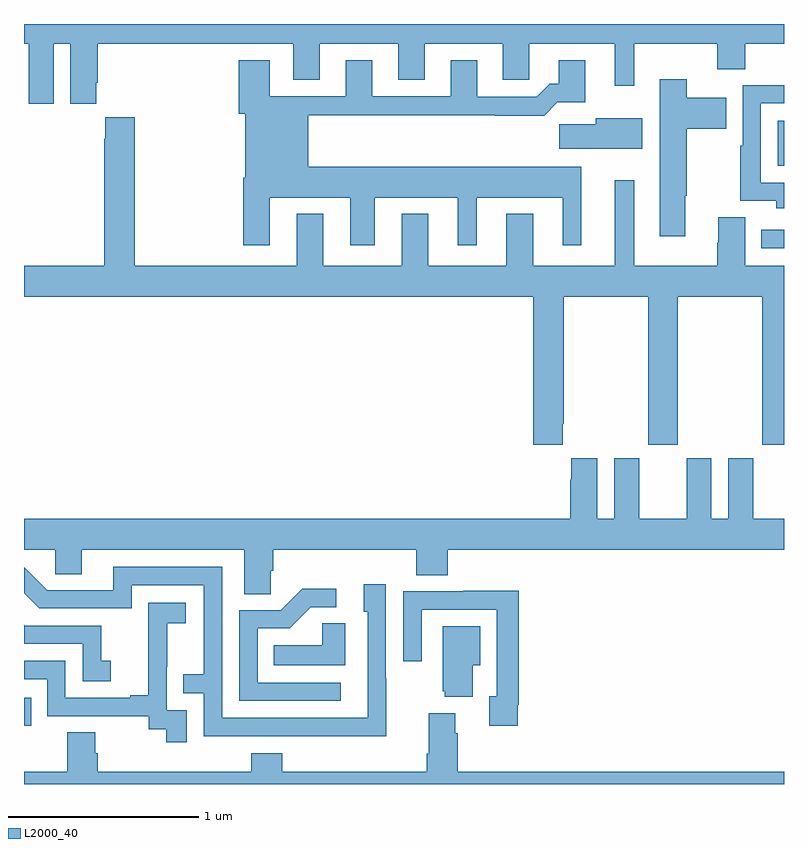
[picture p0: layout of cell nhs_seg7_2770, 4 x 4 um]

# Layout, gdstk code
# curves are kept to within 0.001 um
import gdstk
lib = gdstk.Library(unit=1e-6, precision=1e-09)
def R(c, l, rs):  # rectangles x0, y0, x1, y1
    for r in rs: c.add(gdstk.rectangle(r[:2], r[2:], *l))
def P(c, l, *ps):  # polygons
    for p in ps: c.add(gdstk.Polygon(p, *l))
L2000_40 = (2000, 40)

nhs_seg7_2770 = lib.new_cell('nhs_seg7_2770')
R(nhs_seg7_2770, L2000_40, [(289,1050.306,289.037,1050.453), (292.88,1052.82,293,1052.916), (292.967,1053.254,293,1053.49)])
P(nhs_seg7_2770, L2000_40, [(289.156,1053.896),(289.244,1053.896),(289.244,1053.579),(289.381,1053.579),(289.381,1053.691),(289.388,1053.691),(289.388,1053.896),(290.417,1053.896),(290.417,1053.706),(290.557,1053.706),(290.557,1053.896),(290.969,1053.896),(290.969,1053.706),(291.109,1053.706),(291.109,1053.896),(291.521,1053.896),(291.521,1053.706),(291.66,1053.706),(291.66,1053.896),(292.109,1053.896),(292.109,1053.675),(292.213,1053.675),(292.213,1053.896),(292.648,1053.896),(292.648,1053.763),(292.795,1053.763),(292.795,1053.896),(293,1053.896),(293,1054),(289,1054),(289,1053.896),(289.025,1053.896),(289.025,1053.579),(289.156,1053.579)],
  [(290.293,1053.086),(290.717,1053.086),(290.717,1052.835),(290.845,1052.835),(290.845,1053.086),(291.284,1053.086),(291.284,1052.835),(291.382,1052.835),(291.382,1053.086),(291.836,1053.086),(291.836,1052.835),(291.934,1052.835),(291.934,1053.25),(290.497,1053.25),(290.497,1053.52),(291.481,1053.52),(291.481,1053.518),(291.737,1053.518),(291.806,1053.587),(291.955,1053.587),(291.955,1053.808),(291.815,1053.808),(291.815,1053.685),(291.766,1053.685),(291.699,1053.618),(291.385,1053.618),(291.385,1053.808),(291.245,1053.808),(291.245,1053.621),(290.833,1053.621),(290.833,1053.808),(290.693,1053.808),(290.693,1053.621),(290.293,1053.621),(290.293,1053.808),(290.129,1053.808),(290.129,1053.528),(290.165,1053.528),(290.165,1053.19),(290.153,1053.19),(290.153,1052.835),(290.293,1052.835)],
  [(292.48,1053.095),(292.488,1053.095),(292.488,1053.448),(292.697,1053.448),(292.697,1053.613),(292.488,1053.613),(292.488,1053.709),(292.346,1053.709),(292.346,1052.883),(292.48,1052.883)],
  [(293,1053.165),(292.878,1053.165),(292.878,1053.582),(293,1053.582),(293,1053.678),(292.782,1053.678),(292.782,1053.359),(292.77,1053.359),(292.77,1053.069),(292.96,1053.069),(292.96,1053.029),(293,1053.029)],
  [(291.835,1051.897),(291.84,1051.897),(291.84,1052.564),(292.285,1052.564),(292.285,1051.785),(292.44,1051.785),(292.44,1052.564),(292.885,1052.564),(292.885,1051.785),(293,1051.785),(293,1052.728),(292.795,1052.728),(292.795,1052.984),(292.655,1052.984),(292.655,1052.85),(292.648,1052.85),(292.648,1052.728),(292.213,1052.728),(292.213,1053.178),(292.109,1053.178),(292.109,1052.728),(291.679,1052.728),(291.679,1053.001),(291.539,1053.001),(291.539,1052.728),(291.127,1052.728),(291.127,1053.001),(290.987,1053.001),(290.987,1052.728),(290.575,1052.728),(290.575,1053.001),(290.435,1053.001),(290.435,1052.728),(289.583,1052.728),(289.583,1053.508),(289.427,1053.508),(289.427,1053.395),(289.423,1053.395),(289.423,1052.728),(289,1052.728),(289,1052.564),(291.68,1052.564),(291.68,1051.785),(291.835,1051.785)],
  [(292.255,1053.505),(292.01,1053.505),(292.01,1053.473),(291.816,1053.473),(291.816,1053.344),(292.255,1053.344)],
  [(290.298,1051.123),(290.312,1051.123),(290.312,1051.232),(291.065,1051.232),(291.065,1051.099),(291.23,1051.099),(291.23,1051.232),(293,1051.232),(293,1051.396),(292.837,1051.396),(292.837,1051.714),(292.706,1051.714),(292.706,1051.396),(292.618,1051.396),(292.618,1051.714),(292.487,1051.714),(292.487,1051.396),(292.237,1051.396),(292.237,1051.714),(292.106,1051.714),(292.106,1051.396),(292.018,1051.396),(292.018,1051.714),(291.881,1051.714),(291.881,1051.601),(291.875,1051.601),(291.875,1051.396),(289,1051.396),(289,1051.232),(289.164,1051.232),(289.164,1051.105),(289.303,1051.105),(289.303,1051.232),(290.159,1051.232),(290.159,1051),(290.298,1051)],
  [(290.907,1050.557),(290.904,1050.557),(290.904,1051.051),(290.789,1051.051),(290.789,1050.906),(290.808,1050.906),(290.808,1050.348),(290.043,1050.348),(290.043,1051.143),(289.469,1051.143),(289.469,1051.02),(289.122,1051.02),(289.002,1051.14),(289,1051.14),(289,1051.004),(289.08,1050.924),(289.566,1050.924),(289.566,1051.047),(289.947,1051.047),(289.947,1050.578),(289.837,1050.578),(289.837,1050.477),(289.947,1050.477),(289.947,1050.252),(290.907,1050.251)],
  [(290.668,1050.534),(290.229,1050.534),(290.229,1050.819),(290.398,1050.819),(290.509,1050.93),(290.644,1050.93),(290.644,1051.028),(290.465,1051.028),(290.352,1050.915),(290.133,1050.915),(290.133,1050.438),(290.668,1050.438)],
  [(291.598,1050.418),(291.605,1050.418),(291.605,1051.016),(291.313,1051.016),(291.313,1051.014),(290.997,1051.014),(290.997,1050.645),(291.093,1050.645),(291.093,1050.918),(291.489,1050.918),(291.489,1050.462),(291.449,1050.462),(291.449,1050.306),(291.598,1050.306)],
  [(289.857,1050.387),(289.752,1050.387),(289.752,1050.617),(289.754,1050.617),(289.754,1050.845),(289.852,1050.845),(289.852,1050.955),(289.654,1050.955),(289.654,1050.749),(289.655,1050.749),(289.655,1050.466),(289.559,1050.466),(289.559,1050.453),(289.218,1050.453),(289.218,1050.648),(289,1050.648),(289,1050.552),(289.122,1050.552),(289.122,1050.357),(289.656,1050.357),(289.656,1050.289),(289.749,1050.289),(289.749,1050.219),(289.857,1050.219)],
  [(290.692,1050.845),(290.571,1050.845),(290.571,1050.73),(290.314,1050.73),(290.314,1050.626),(290.692,1050.626)],
  [(289.456,1050.649),(289.407,1050.649),(289.407,1050.834),(289.003,1050.834),(289,1050.837),(289,1050.738),(289.308,1050.738),(289.308,1050.54),(289.456,1050.54)],
  [(291.361,1050.626),(291.4,1050.626),(291.4,1050.829),(291.203,1050.829),(291.203,1050.489),(291.215,1050.489),(291.215,1050.458),(291.361,1050.458)],
  [(293,1050.064),(291.284,1050.064),(291.284,1050.266),(291.271,1050.266),(291.271,1050.373),(291.131,1050.373),(291.131,1050.16),(291.119,1050.16),(291.119,1050.064),(290.36,1050.064),(290.36,1050.163),(290.195,1050.163),(290.195,1050.064),(289.388,1050.064),(289.388,1050.162),(289.375,1050.162),(289.375,1050.272),(289.228,1050.272),(289.228,1050.064),(289,1050.064),(289,1050),(293,1050)])

lib.write_gds('nhs_seg7_2770.gds')
